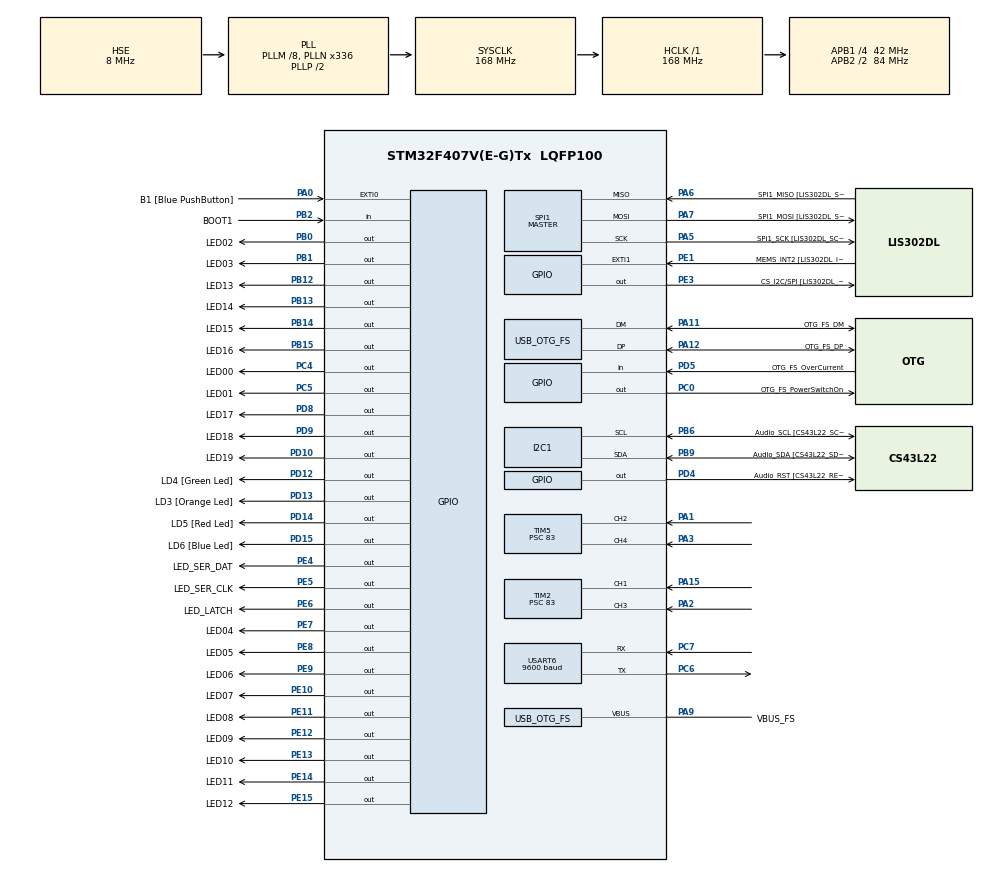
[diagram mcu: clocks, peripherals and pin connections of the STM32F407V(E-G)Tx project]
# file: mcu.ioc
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Mcu.Family=STM32F4
Mcu.Name=STM32F407V(E-G)Tx
Mcu.Package=LQFP100
NVIC.OTG_FS_IRQn=true\:0\:0\:false\:false\:true\:true
NVIC.PriorityGroup=NVIC_PRIORITYGROUP_0
NVIC.TIM2_IRQn=true\:0\:0\:false\:false\:true\:true
NVIC.TIM3_IRQn=true\:0\:0\:false\:false\:true\:true
NVIC.TIM4_IRQn=true\:0\:0\:false\:false\:true\:true
NVIC.TIM5_IRQn=true\:0\:0\:false\:false\:true\:true
NVIC.USART6_IRQn=true\:0\:0\:false\:false\:true\:true
PA0-WKUP.GPIO_Label=B1 [Blue PushButton]
PA0-WKUP.GPIO_ModeDefaultEXTI=GPIO_MODE_EVT_RISING
PA0-WKUP.GPIO_PuPd=GPIO_NOPULL
PA0-WKUP.Signal=GPXTI0
PA1.Signal=S_TIM5_CH2
PA10.GPIO_Label=OTG_FS_ID
PA10.GPIO_Mode=GPIO_MODE_AF_PP
PA10.GPIO_PuPd=GPIO_NOPULL
PA10.GPIO_Speed=GPIO_SPEED_FREQ_LOW
PA10.Signal=USB_OTG_FS_ID
PA11.GPIO_Label=OTG_FS_DM
PA11.GPIO_Mode=GPIO_MODE_AF_PP
PA11.GPIO_PuPd=GPIO_NOPULL
PA11.GPIO_Speed=GPIO_SPEED_FREQ_LOW
PA11.Mode=Host_Only
PA11.Signal=USB_OTG_FS_DM
PA12.GPIO_Label=OTG_FS_DP
PA12.GPIO_Mode=GPIO_MODE_AF_PP
PA12.GPIO_PuPd=GPIO_NOPULL
PA12.GPIO_Speed=GPIO_SPEED_FREQ_LOW
PA12.Mode=Host_Only
PA12.Signal=USB_OTG_FS_DP
PA13.GPIO_Label=SWDIO
PA13.Mode=Serial_Wire
PA13.Signal=SYS_JTMS-SWDIO
PA14.GPIO_Label=SWCLK
PA14.Mode=Serial_Wire
PA14.Signal=SYS_JTCK-SWCLK
PA15.Signal=S_TIM2_CH1_ETR
PA2.Signal=S_TIM2_CH3
PA3.Signal=S_TIM5_CH4
PA4.GPIO_Label=I2S3_WS [CS43L22_LRCK]
PA4.GPIO_Mode=GPIO_MODE_AF_PP
PA4.GPIO_PuPd=GPIO_NOPULL
PA4.GPIO_Speed=GPIO_SPEED_FREQ_LOW
PA4.Signal=I2S3_WS
PA5.GPIO_Label=SPI1_SCK [LIS302DL_SCL/SPC]
PA5.GPIO_Mode=GPIO_MODE_AF_PP
PA5.GPIO_PuPd=GPIO_NOPULL
PA5.GPIO_Speed=GPIO_SPEED_FREQ_LOW
PA5.Mode=Full_Duplex_Master
PA5.Signal=SPI1_SCK
PA6.GPIO_Label=SPI1_MISO [LIS302DL_SDO]
PA6.GPIO_Mode=GPIO_MODE_AF_PP
PA6.GPIO_PuPd=GPIO_NOPULL
PA6.GPIO_Speed=GPIO_SPEED_FREQ_LOW
PA6.Mode=Full_Duplex_Master
PA6.Signal=SPI1_MISO
PA7.GPIO_Label=SPI1_MOSI [LIS302DL_SDA/SDI/SDO]
PA7.GPIO_Mode=GPIO_MODE_AF_PP
PA7.GPIO_PuPd=GPIO_NOPULL
PA7.GPIO_Speed=GPIO_SPEED_FREQ_LOW
PA7.Mode=Full_Duplex_Master
PA7.Signal=SPI1_MOSI
PA9.GPIO_Label=VBUS_FS
PA9.GPIO_Mode=GPIO_MODE_INPUT
PA9.GPIO_PuPd=GPIO_NOPULL
PA9.Mode=Activate_VBUS
PA9.Signal=USB_OTG_FS_VBUS
PB0.GPIO_Label=LED02
PB0.Signal=GPIO_Output
PB1.GPIO_Label=LED03
PB1.Signal=GPIO_Output
PB10.GPIO_Label=CLK_IN [MP45DT02_CLK]
PB10.GPIO_Mode=GPIO_MODE_AF_PP
PB10.GPIO_PuPd=GPIO_NOPULL
PB10.GPIO_Speed=GPIO_SPEED_FREQ_LOW
PB10.Signal=I2S2_CK
PB12.GPIO_Label=LED13
PB12.Signal=GPIO_Output
PB13.GPIO_Label=LED14
PB13.Signal=GPIO_Output
PB14.GPIO_Label=LED15
PB14.Signal=GPIO_Output
PB15.GPIO_Label=LED16
PB15.Signal=GPIO_Output
PB2.GPIO_Label=BOOT1
PB2.GPIO_Mode=GPIO_MODE_INPUT
PB2.GPIO_PuPd=GPIO_NOPULL
PB2.Signal=GPIO_Input
PB3.GPIO_Label=SWO
PB3.Signal=SYS_JTDO-SWO
PB6.GPIO_Label=Audio_SCL [CS43L22_SCL]
PB6.GPIO_Mode=GPIO_MODE_AF_OD
PB6.GPIO_PuPd=GPIO_NOPULL
PB6.GPIO_Speed=GPIO_SPEED_FREQ_LOW
PB6.Mode=I2C
PB6.Signal=I2C1_SCL
PB9.GPIO_Label=Audio_SDA [CS43L22_SDA]
PB9.GPIO_Mode=GPIO_MODE_AF_OD
PB9.GPIO_PuPd=GPIO_NOPULL
PB9.GPIO_Speed=GPIO_SPEED_FREQ_LOW
PB9.Mode=I2C
PB9.Signal=I2C1_SDA
PC0.GPIO_Label=OTG_FS_PowerSwitchOn
PC0.GPIO_PuPd=GPIO_NOPULL
PC0.GPIO_Speed=GPIO_SPEED_FREQ_LOW
PC0.PinState=GPIO_PIN_SET
PC0.Signal=GPIO_Output
PC10.GPIO_Label=I2S3_SCK [CS43L22_SCLK]
PC10.GPIO_Mode=GPIO_MODE_AF_PP
PC10.GPIO_PuPd=GPIO_NOPULL
PC10.GPIO_Speed=GPIO_SPEED_FREQ_LOW
PC10.Signal=I2S3_CK
PC12.GPIO_Label=I2S3_SD [CS43L22_SDIN]
PC12.GPIO_Mode=GPIO_MODE_AF_PP
PC12.GPIO_PuPd=GPIO_NOPULL
PC12.GPIO_Speed=GPIO_SPEED_FREQ_LOW
PC12.Signal=I2S3_SD
PC14-OSC32_IN.GPIO_Label=PC14-OSC32_IN
PC14-OSC32_IN.Mode=LSE-External-Oscillator
PC14-OSC32_IN.Signal=RCC_OSC32_IN
PC15-OSC32_OUT.GPIO_Label=PC15-OSC32_OUT
PC15-OSC32_OUT.Mode=LSE-External-Oscillator
PC15-OSC32_OUT.Signal=RCC_OSC32_OUT
PC3.GPIO_Label=PDM_OUT [MP45DT02_DOUT]
PC3.GPIO_Mode=GPIO_MODE_AF_PP
PC3.GPIO_PuPd=GPIO_NOPULL
PC3.GPIO_Speed=GPIO_SPEED_FREQ_LOW
PC3.Signal=I2S2_SD
PC4.GPIO_Label=LED00
PC4.Signal=GPIO_Output
PC5.GPIO_Label=LED01
PC5.Signal=GPIO_Output
PC6.Mode=Asynchronous
PC6.Signal=USART6_TX
PC7.Mode=Asynchronous
PC7.Signal=USART6_RX
PD10.GPIO_Label=LED19
PD10.Signal=GPIO_Output
PD12.GPIO_Label=LD4 [Green Led]
PD12.GPIO_PuPd=GPIO_NOPULL
PD12.GPIO_Speed=GPIO_SPEED_FREQ_LOW
PD12.Signal=GPIO_Output
PD13.GPIO_Label=LD3 [Orange Led]
PD13.GPIO_PuPd=GPIO_NOPULL
PD13.GPIO_Speed=GPIO_SPEED_FREQ_LOW
PD13.Signal=GPIO_Output
PD14.GPIO_Label=LD5 [Red Led]
PD14.GPIO_PuPd=GPIO_NOPULL
PD14.GPIO_Speed=GPIO_SPEED_FREQ_LOW
PD14.Signal=GPIO_Output
PD15.GPIO_Label=LD6 [Blue Led]
PD15.GPIO_PuPd=GPIO_NOPULL
PD15.GPIO_Speed=GPIO_SPEED_FREQ_LOW
PD15.Signal=GPIO_Output
PD4.GPIO_Label=Audio_RST [CS43L22_RESET]
PD4.GPIO_PuPd=GPIO_NOPULL
PD4.GPIO_Speed=GPIO_SPEED_FREQ_LOW
PD4.Signal=GPIO_Output
PD5.GPIO_Label=OTG_FS_OverCurrent
PD5.GPIO_Mode=GPIO_MODE_INPUT
PD5.GPIO_PuPd=GPIO_NOPULL
PD5.Signal=GPIO_Input
PD8.GPIO_Label=LED17
PD8.Signal=GPIO_Output
PD9.GPIO_Label=LED18
PD9.Signal=GPIO_Output
PE1.GPIO_Label=MEMS_INT2 [LIS302DL_INT2]
PE1.GPIO_ModeDefaultEXTI=GPIO_MODE_EVT_RISING
PE1.GPIO_PuPd=GPIO_NOPULL
PE1.Signal=GPXTI1
PE10.GPIO_Label=LED07
PE10.Signal=GPIO_Output
PE11.GPIO_Label=LED08
PE11.Signal=GPIO_Output
PE12.GPIO_Label=LED09
PE12.Signal=GPIO_Output
PE13.GPIO_Label=LED10
PE13.Signal=GPIO_Output
PE14.GPIO_Label=LED11
PE14.Signal=GPIO_Output
PE15.GPIO_Label=LED12
PE15.Signal=GPIO_Output
PE3.GPIO_Label=CS_I2C/SPI [LIS302DL_CS_I2C/SPI]
PE3.GPIO_PuPd=GPIO_NOPULL
PE3.GPIO_Speed=GPIO_SPEED_FREQ_LOW
PE3.Signal=GPIO_Output
PE4.GPIO_Label=LED_SER_DAT
PE4.Signal=GPIO_Output
PE5.GPIO_Label=LED_SER_CLK
PE5.Signal=GPIO_Output
PE6.GPIO_Label=LED_LATCH
PE6.Signal=GPIO_Output
PE7.GPIO_Label=LED04
PE7.Signal=GPIO_Output
PE8.GPIO_Label=LED05
PE8.Signal=GPIO_Output
PE9.GPIO_Label=LED06
PE9.Signal=GPIO_Output
PH0-OSC_IN.GPIO_Label=PH0-OSC_IN
PH0-OSC_IN.Mode=HSE-External-Oscillator
PH0-OSC_IN.Signal=RCC_OSC_IN
PH1-OSC_OUT.GPIO_Label=PH1-OSC_OUT
PH1-OSC_OUT.Mode=HSE-External-Oscillator
PH1-OSC_OUT.Signal=RCC_OSC_OUT
ProjectManager.HeapSize=0x200
ProjectManager.StackSize=0x400
ProjectManager.TargetToolchain=SW4STM32
RCC.48MHZClocksFreq_Value=48000000
RCC.AHBFreq_Value=168000000
RCC.APB1CLKDivider=RCC_HCLK_DIV4
RCC.APB1Freq_Value=42000000
RCC.APB1TimFreq_Value=84000000
RCC.APB2CLKDivider=RCC_HCLK_DIV2
RCC.APB2Freq_Value=84000000
RCC.APB2TimFreq_Value=168000000
RCC.CortexFreq_Value=168000000
RCC.HCLKFreq_Value=168000000
RCC.HSE_VALUE=8000000
RCC.HSI_VALUE=16000000
RCC.PLLM=8
RCC.PLLN=336
RCC.PLLQ=7
RCC.SYSCLKFreq_VALUE=168000000
RCC.SYSCLKSource=RCC_SYSCLKSOURCE_PLLCLK
RCC.VCOOutputFreq_Value=336000000
SH.S_TIM2_CH1_ETR.0=TIM2_CH1,Input_Capture1_from_TI1
SH.S_TIM2_CH3.0=TIM2_CH3,Input_Capture3_from_TI3
SH.S_TIM5_CH2.0=TIM5_CH2,Input_Capture2_from_TI2
SH.S_TIM5_CH4.0=TIM5_CH4,Input_Capture4_from_TI4
SPI1.BaudRatePrescaler-Full_Duplex_Master=SPI_BAUDRATEPRESCALER_2
SPI1.CalculateBaudRate-Full_Duplex_Master=42.0 MBits/s
SPI1.Direction=SPI_DIRECTION_2LINES
SPI1.Mode=SPI_MODE_MASTER
SPI1.Mode-Full_Duplex_Master=SPI_MODE_MASTER
SPI1.VirtualType=VM_MASTER
TIM2.Channel-Input_Capture1_from_TI1=TIM_CHANNEL_1
TIM2.Channel-Input_Capture3_from_TI3=TIM_CHANNEL_3
TIM2.ICFilter_CH1=15
TIM2.ICFilter_CH3=15
TIM2.Period=3599999999
TIM2.Prescaler=83
TIM2.TIM_MasterOutputTrigger=TIM_TRGO_OC1
TIM2.TIM_MasterSlaveMode=TIM_MASTERSLAVEMODE_ENABLE
TIM3.Channel-PWM\ Generation1\ No\ Output=TIM_CHANNEL_1
TIM3.TIM_MasterSlaveMode=TIM_MASTERSLAVEMODE_ENABLE
TIM4.Channel-PWM\ Generation1\ No\ Output=TIM_CHANNEL_1
TIM5.Channel-Input_Capture2_from_TI2=TIM_CHANNEL_2
TIM5.Channel-Input_Capture4_from_TI4=TIM_CHANNEL_4
TIM5.Channel-PWM\ Generation1\ No\ Output=TIM_CHANNEL_1
TIM5.Period=999999
TIM5.Prescaler=83
TIM5.TIM_MasterSlaveMode=TIM_MASTERSLAVEMODE_ENABLE
USART6.BaudRate=9600
USART6.VirtualMode=VM_ASYNC
USB_HOST.BSP.number=1
USB_HOST.USBH_HandleTypeDef-CDC_FS=hUsbHostFS
USB_HOST.VirtualModeFS=Cdc
USB_HOST0.BSP.STBoard=false
USB_HOST0.BSP.api=Unknown
USB_HOST0.BSP.i2caddr=0
USB_HOST0.BSP.i2creg=0
USB_HOST0.BSP.instance=PC0
USB_HOST0.BSP.ip=GPIO
USB_HOST0.BSP.mode=Output
USB_HOST0.BSP.name=Drive_VBUS_FS
USB_HOST0.BSP.solution=PC0
USB_OTG_FS.VirtualMode=Host_Only
USB_OTG_FS.phy_itface=HCD_PHY_EMBEDDED
VP_TIM2_VS_ClockSourceINT.Mode=Internal
VP_TIM3_VS_ClockSourceINT.Mode=Internal
VP_TIM3_VS_ClockSourceITR.Mode=TriggerSource_ITR2
VP_TIM3_VS_ControllerModeReset.Mode=Reset Mode
VP_TIM3_VS_no_output1.Mode=PWM Generation1 No Output
VP_TIM4_VS_ClockSourceINT.Mode=Internal
VP_TIM4_VS_ClockSourceITR.Mode=TriggerSource_ITR0
VP_TIM4_VS_ControllerModeReset.Mode=Reset Mode
VP_TIM4_VS_no_output1.Mode=PWM Generation1 No Output
VP_TIM5_VS_ClockSourceINT.Mode=Internal
VP_TIM5_VS_ClockSourceITR.Mode=TriggerSource_ITR0
VP_TIM5_VS_ControllerModeReset.Mode=Reset Mode
VP_TIM5_VS_no_output1.Mode=PWM Generation1 No Output
VP_USB_HOST_VS_USB_HOST_CDC_FS.Mode=CDC_FS
board=STM32F4DISCOVERY

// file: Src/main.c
/**
  ******************************************************************************
  * @file           : main.c
  * @brief          : Main program body
  ******************************************************************************
  * This notice applies to any and all portions of this file
  * that are not between comment pairs USER CODE BEGIN and
  * USER CODE END. Other portions of this file, whether
  * inserted by the user or by software development tools
  * are owned by their respective copyright owners.
  *
  * Copyright (c) 2018 STMicroelectronics International N.V.
  * All rights reserved.
  *
  * Redistribution and use in source and binary forms, with or without
  * modification, are permitted, provided that the following conditions are met:
  *
  * 1. Redistribution of source code must retain the above copyright notice,
  *    this list of conditions and the following disclaimer.
  * 2. Redistributions in binary form must reproduce the above copyright notice,
  *    this list of conditions and the following disclaimer in the documentation
  *    and/or other materials provided with the distribution.
  * 3. Neither the name of STMicroelectronics nor the names of other
  *    contributors to this software may be used to endorse or promote products
  *    derived from this software without specific written permission.
  * 4. This software, including modifications and/or derivative works of this
  *    software, must execute solely and exclusively on microcontroller or
  *    microprocessor devices manufactured by or for STMicroelectronics.
  * 5. Redistribution and use of this software other than as permitted under
  *    this license is void and will automatically terminate your rights under
  *    this license.
  *
  * THIS SOFTWARE IS PROVIDED BY STMICROELECTRONICS AND CONTRIBUTORS "AS IS"
  * AND ANY EXPRESS, IMPLIED OR STATUTORY WARRANTIES, INCLUDING, BUT NOT
  * LIMITED TO, THE IMPLIED WARRANTIES OF MERCHANTABILITY, FITNESS FOR A
  * PARTICULAR PURPOSE AND NON-INFRINGEMENT OF THIRD PARTY INTELLECTUAL PROPERTY
  * RIGHTS ARE DISCLAIMED TO THE FULLEST EXTENT PERMITTED BY LAW. IN NO EVENT
  * SHALL STMICROELECTRONICS OR CONTRIBUTORS BE LIABLE FOR ANY DIRECT, INDIRECT,
  * INCIDENTAL, SPECIAL, EXEMPLARY, OR CONSEQUENTIAL DAMAGES (INCLUDING, BUT NOT
  * LIMITED TO, PROCUREMENT OF SUBSTITUTE GOODS OR SERVICES; LOSS OF USE, DATA,
  * OR PROFITS; OR BUSINESS INTERRUPTION) HOWEVER CAUSED AND ON ANY THEORY OF
  * LIABILITY, WHETHER IN CONTRACT, STRICT LIABILITY, OR TORT (INCLUDING
  * NEGLIGENCE OR OTHERWISE) ARISING IN ANY WAY OUT OF THE USE OF THIS SOFTWARE,
  * EVEN IF ADVISED OF THE POSSIBILITY OF SUCH DAMAGE.
  *
  ******************************************************************************
  */
#include "main.h"
#include "stm32f4xx_hal.h"
#include "usb_host.h"

I2C_HandleTypeDef hi2c1;

SPI_HandleTypeDef hspi1;

TIM_HandleTypeDef htim2;
TIM_HandleTypeDef htim3;
TIM_HandleTypeDef htim4;
TIM_HandleTypeDef htim5;

UART_HandleTypeDef huart6;

/* USER CODE BEGIN PV */
/* Private variables ---------------------------------------------------------*/

/* USER CODE END PV */

void SystemClock_Config(void);
static void MX_GPIO_Init(void);
static void MX_I2C1_Init(void);
static void MX_SPI1_Init(void);
static void MX_TIM2_Init(void);
static void MX_TIM5_Init(void);
static void MX_USART6_UART_Init(void);
static void MX_TIM4_Init(void);
static void MX_TIM3_Init(void);
void MX_USB_HOST_Process(void);

/* USER CODE BEGIN PFP */
/* Private function prototypes -----------------------------------------------*/

/* USER CODE END PFP */

/* USER CODE BEGIN 0 */

/* private variables */
#define ppsAccumulatorShift 3
#define ppsAccumulatorSize 8
#define ppsAccumulatorMask 7
uint32_t ppsTimeBase = 0;
uint32_t ppsAccumulator[ppsAccumulatorSize];
uint32_t ppsAccumulatorSamples = 0;

void averageTimeBase(uint32_t accumulator) {
	uint32_t head = ppsAccumulatorSamples & ppsAccumulatorMask;
	ppsAccumulator[head] = accumulator;
	++ppsAccumulatorSamples;
	if (ppsAccumulatorSamples >= ppsAccumulatorSize) {
		accumulator = 0;
		for (int i = 0; i < ppsAccumulatorSize; ++i) {
			accumulator += ppsAccumulator[i];
		}
		accumulator = (accumulator >> ppsAccumulatorShift);
	} else {
		accumulator = 0;
	}
	ppsTimeBase = accumulator;
}

#define GprmcBufferSize 128
uint8_t gprmcBuff[GprmcBufferSize];
uint8_t gprmcTemp[GprmcBufferSize];
unsigned int gprmcBuffPos = 0;
unsigned int gprmcBuffSize = GprmcBufferSize;

uint32_t utcSeconds;

void udelay(uint32_t delay) {
	volatile uint32_t acc = 0;
	for (unsigned int i = 0; i < 1000; ++i) {
		acc = acc + i;
	}
}

#define segA (1<<0)
#define segB (1<<6)
#define segC (1<<5)
#define segD (1<<4)
#define segE (1<<3)
#define segF (1<<1)
#define segG (1<<2)
#define segP (1<<7)

uint8_t segLUT[16] = {
	segA | segB | segC | segD | segE | segF,
	segB | segC,
	segA | segB | segD | segE | segG,
	segA | segB | segC | segD | segG,
	segF | segG | segB | segC,
	segA | segF | segG | segC | segD,
	segA | segC | segD | segE | segF | segG,
	segA | segB | segC,
	segA | segB | segC | segD | segE | segF | segG,
	segA | segB | segC | segD | segF | segG,
	segA | segB | segC | segE | segF | segG,
	segC | segD | segE | segF | segG,
	segA | segD | segE | segF,
	segB | segC | segD | segE | segG,
	segA | segD | segE | segF | segG,
	segA | segE | segF | segG,
};

uint8_t bitMasks[8] = { 0x80, 0x40, 0x20, 0x10, 0x08, 0x04, 0x02, 0x01 };

void displayTime(uint32_t seconds) {
	uint8_t *p = (uint8_t *) &seconds;
//	p += 4;
	const uint32_t delay = 100;
	for (unsigned int i = 0; i < 4; ++i) {
		uint8_t segments;
//		uint8_t ch = *--p;
		uint8_t ch = *p++;
		segments = segLUT[ch & 0xf];
		for (unsigned int j = 0; j < 8; ++j) {
			uint8_t flag = (segments & bitMasks[j]) ? 0 : 1;
			GPIOE->BSRR = (1 << (4 + flag * 16));
			udelay(delay);
			GPIOE->BSRR = (1 << (5 + 0 * 16));
			udelay(delay);
			GPIOE->BSRR = (1 << (5 + 1 * 16));
		}
		segments = segLUT[(ch >> 4) & 0xf];
		for (unsigned int j = 0; j < 8; ++j) {
			uint8_t flag = (segments & bitMasks[j]) ? 0 : 1;
			GPIOE->BSRR = (1 << (4 + flag * 16));
			udelay(delay);
			GPIOE->BSRR = (1 << (5 + 0 * 16));
			udelay(delay);
			GPIOE->BSRR = (1 << (5 + 1 * 16));
		}
	}
	GPIOE->BSRR = (1 << (6 + 0 * 16));
	udelay(delay);
	GPIOE->BSRR = (1 << (6 + 1 * 16));
	udelay(delay);
}

/* USER CODE END 0 */

int main(void)
{

  /* MCU Configuration----------------------------------------------------------*/

  /* Reset of all peripherals, Initializes the Flash interface and the Systick. */
  HAL_Init();

  /* Configure the system clock */
  SystemClock_Config();

  /* Initialize all configured peripherals */
  MX_GPIO_Init();
  MX_I2C1_Init();
  MX_SPI1_Init();
  MX_USB_HOST_Init();
  MX_TIM2_Init();
  MX_TIM5_Init();
  MX_USART6_UART_Init();
  MX_TIM4_Init();
  MX_TIM3_Init();
  /* USER CODE BEGIN 2 */

	TIM_TypeDef *tim;
	uint8_t ts, sms, mms, msm;

	tim = TIM2;
	tim->CCER |= TIM_CCER_CC1E;

	tim->SMCR &= ~(TIM_SMCR_TS_Msk | TIM_SMCR_SMS_Msk | TIM_SMCR_MSM_Msk);
	ts = 0; /* n/a disabled */
	sms = 0; /* no slave mode */
	tim->SMCR |= ((ts << TIM_SMCR_TS_Pos) | (sms << TIM_SMCR_SMS_Pos) | (msm << TIM_SMCR_MSM_Pos));

	mms = 3; /* CC1IF is trigger out */
	tim->CR2 &= ~(TIM_CR2_MMS_Msk);
	tim->CR2 |= (mms << TIM_CR2_MMS_Pos);

	tim->DIER = TIM_DIER_CC1IE;
	tim->CR1 |= TIM_CR1_CEN; /* enable timer */

	/* TIM3 is connected to the individual LED */
	tim = TIM3;

	tim->SMCR &= ~(TIM_SMCR_TS_Msk | TIM_SMCR_SMS_Msk | TIM_SMCR_MSM_Msk);
	ts = 2; /* tim5 TRGO is trigger */
	sms = 4; /* reset mode on rising edge of TRGI */
	msm = 1;
	tim->SMCR |= ((ts << TIM_SMCR_TS_Pos) | (sms << TIM_SMCR_SMS_Pos) | (msm << TIM_SMCR_MSM_Pos));

	tim->PSC = 84 - 1;
	tim->ARR = 50000 - 1;
	tim->DIER = (TIM_DIER_UIE | TIM_DIER_CC1IE);
	tim->CR1 |= TIM_CR1_CEN; /* enable timer */

	/* shadow of TIM4. could go away */
	tim = TIM4;

	tim->SMCR &= ~(TIM_SMCR_TS_Msk | TIM_SMCR_SMS_Msk | TIM_SMCR_MSM_Msk);
	ts = 1; /* tim2 TRGO is trigger */
	sms = 4; /* reset mode on rising edge of TRGI */
	msm = 1;
	tim->SMCR |= ((ts << TIM_SMCR_TS_Pos) | (sms << TIM_SMCR_SMS_Pos) | (msm << TIM_SMCR_MSM_Pos));

	tim->PSC = 84 - 1;
	tim->ARR = 50000 - 1;
	tim->DIER = (TIM_DIER_UIE | TIM_DIER_CC1IE);
	tim->CR1 |= TIM_CR1_CEN; /* enable timer */

	/* master */
	tim = TIM5;

	mms = 0; /* reset is trigger out */
	tim->CR2 &= ~(TIM_CR2_MMS_Msk);
	tim->CR2 |= (mms << TIM_CR2_MMS_Pos);

	tim->SMCR &= ~(TIM_SMCR_TS_Msk | TIM_SMCR_SMS_Msk | TIM_SMCR_MSM_Msk);
	ts = 0; /* tim2 TRGO is trigger */
	sms = 4; /* reset mode on rising edge of TRGI */
	msm = 1;
	tim->SMCR |= ((ts << TIM_SMCR_TS_Pos) | (sms << TIM_SMCR_SMS_Pos) | (msm << TIM_SMCR_MSM_Pos));

	tim->PSC = 84 - 1;
	tim->ARR = 50000 - 1;
	tim->DIER = (TIM_DIER_UIE | TIM_DIER_CC1IE);
	tim->CR1 |= TIM_CR1_CEN; /* enable timer */

	USART6->CR1 |= (USART_CR1_RE | USART_CR1_RXNEIE);

  /* USER CODE END 2 */

  /* Infinite loop */
  /* USER CODE BEGIN WHILE */

  while (1)
  {
	  if (utcSeconds != 0) {
		  displayTime(utcSeconds);
		  utcSeconds = 0;
	  }

//	  int delay = 50;
//	  GPIOD->BSRR = (1 << (0x0C + 0 * 16));
//	  GPIOD->BSRR = (1 << (0x0D + 1 * 16));
//	  HAL_Delay(delay);
//	  GPIOD->BSRR = (1 << (0x0C + 1 * 16));
//	  GPIOD->BSRR = (1 << (0x0D + 0 * 16));
//	  HAL_Delay(delay);
//
//	  HAL_Delay(18 * delay);

  /* USER CODE END WHILE */
    MX_USB_HOST_Process();

  }

}

void SystemClock_Config(void)
{

  RCC_OscInitTypeDef RCC_OscInitStruct;
  RCC_ClkInitTypeDef RCC_ClkInitStruct;

    /**Configure the main internal regulator output voltage
    */
  __HAL_RCC_PWR_CLK_ENABLE();

  __HAL_PWR_VOLTAGESCALING_CONFIG(PWR_REGULATOR_VOLTAGE_SCALE1);

    /**Initializes the CPU, AHB and APB busses clocks
    */
  RCC_OscInitStruct.OscillatorType = RCC_OSCILLATORTYPE_LSI|RCC_OSCILLATORTYPE_HSE;
  RCC_OscInitStruct.HSEState = RCC_HSE_ON;
  RCC_OscInitStruct.LSIState = RCC_LSI_ON;
  RCC_OscInitStruct.PLL.PLLState = RCC_PLL_ON;
  RCC_OscInitStruct.PLL.PLLSource = RCC_PLLSOURCE_HSE;
  RCC_OscInitStruct.PLL.PLLM = 8;
  RCC_OscInitStruct.PLL.PLLN = 336;
  RCC_OscInitStruct.PLL.PLLP = RCC_PLLP_DIV2;
  RCC_OscInitStruct.PLL.PLLQ = 7;
  if (HAL_RCC_OscConfig(&RCC_OscInitStruct) != HAL_OK)
  {
    _Error_Handler(__FILE__, __LINE__);
  }

    /**Initializes the CPU, AHB and APB busses clocks
    */
  RCC_ClkInitStruct.ClockType = RCC_CLOCKTYPE_HCLK|RCC_CLOCKTYPE_SYSCLK
                              |RCC_CLOCKTYPE_PCLK1|RCC_CLOCKTYPE_PCLK2;
  RCC_ClkInitStruct.SYSCLKSource = RCC_SYSCLKSOURCE_PLLCLK;
  RCC_ClkInitStruct.AHBCLKDivider = RCC_SYSCLK_DIV1;
  RCC_ClkInitStruct.APB1CLKDivider = RCC_HCLK_DIV4;
  RCC_ClkInitStruct.APB2CLKDivider = RCC_HCLK_DIV2;

  if (HAL_RCC_ClockConfig(&RCC_ClkInitStruct, FLASH_LATENCY_5) != HAL_OK)
  {
    _Error_Handler(__FILE__, __LINE__);
  }

    /**Configure the Systick interrupt time
    */
  HAL_SYSTICK_Config(HAL_RCC_GetHCLKFreq()/1000);

    /**Configure the Systick
    */
  HAL_SYSTICK_CLKSourceConfig(SYSTICK_CLKSOURCE_HCLK);

  /* SysTick_IRQn interrupt configuration */
  HAL_NVIC_SetPriority(SysTick_IRQn, 0, 0);
}

/* I2C1 init function */
static void MX_I2C1_Init(void)
{

  hi2c1.Instance = I2C1;
  hi2c1.Init.ClockSpeed = 100000;
  hi2c1.Init.DutyCycle = I2C_DUTYCYCLE_2;
  hi2c1.Init.OwnAddress1 = 0;
  hi2c1.Init.AddressingMode = I2C_ADDRESSINGMODE_7BIT;
  hi2c1.Init.DualAddressMode = I2C_DUALADDRESS_DISABLE;
  hi2c1.Init.OwnAddress2 = 0;
  hi2c1.Init.GeneralCallMode = I2C_GENERALCALL_DISABLE;
  hi2c1.Init.NoStretchMode = I2C_NOSTRETCH_DISABLE;
  if (HAL_I2C_Init(&hi2c1) != HAL_OK)
  {
    _Error_Handler(__FILE__, __LINE__);
  }

}

/* SPI1 init function */
static void MX_SPI1_Init(void)
{

  /* SPI1 parameter configuration*/
  hspi1.Instance = SPI1;
  hspi1.Init.Mode = SPI_MODE_MASTER;
  hspi1.Init.Direction = SPI_DIRECTION_2LINES;
  hspi1.Init.DataSize = SPI_DATASIZE_8BIT;
  hspi1.Init.CLKPolarity = SPI_POLARITY_LOW;
  hspi1.Init.CLKPhase = SPI_PHASE_1EDGE;
  hspi1.Init.NSS = SPI_NSS_SOFT;
  hspi1.Init.BaudRatePrescaler = SPI_BAUDRATEPRESCALER_2;
  hspi1.Init.FirstBit = SPI_FIRSTBIT_MSB;
  hspi1.Init.TIMode = SPI_TIMODE_DISABLE;
  hspi1.Init.CRCCalculation = SPI_CRCCALCULATION_DISABLE;
  hspi1.Init.CRCPolynomial = 10;
  if (HAL_SPI_Init(&hspi1) != HAL_OK)
  {
    _Error_Handler(__FILE__, __LINE__);
  }

}

/* TIM2 init function */
static void MX_TIM2_Init(void)
{

  TIM_ClockConfigTypeDef sClockSourceConfig;
  TIM_MasterConfigTypeDef sMasterConfig;
  TIM_IC_InitTypeDef sConfigIC;

  htim2.Instance = TIM2;
  htim2.Init.Prescaler = 83;
  htim2.Init.CounterMode = TIM_COUNTERMODE_UP;
  htim2.Init.Period = 3599999999;
  htim2.Init.ClockDivision = TIM_CLOCKDIVISION_DIV1;
  if (HAL_TIM_Base_Init(&htim2) != HAL_OK)
  {
    _Error_Handler(__FILE__, __LINE__);
  }

  sClockSourceConfig.ClockSource = TIM_CLOCKSOURCE_INTERNAL;
  if (HAL_TIM_ConfigClockSource(&htim2, &sClockSourceConfig) != HAL_OK)
  {
    _Error_Handler(__FILE__, __LINE__);
  }

  if (HAL_TIM_IC_Init(&htim2) != HAL_OK)
  {
    _Error_Handler(__FILE__, __LINE__);
  }

  sMasterConfig.MasterOutputTrigger = TIM_TRGO_OC1;
  sMasterConfig.MasterSlaveMode = TIM_MASTERSLAVEMODE_ENABLE;
  if (HAL_TIMEx_MasterConfigSynchronization(&htim2, &sMasterConfig) != HAL_OK)
  {
    _Error_Handler(__FILE__, __LINE__);
  }

  sConfigIC.ICPolarity = TIM_INPUTCHANNELPOLARITY_RISING;
  sConfigIC.ICSelection = TIM_ICSELECTION_DIRECTTI;
  sConfigIC.ICPrescaler = TIM_ICPSC_DIV1;
  sConfigIC.ICFilter = 15;
  if (HAL_TIM_IC_ConfigChannel(&htim2, &sConfigIC, TIM_CHANNEL_1) != HAL_OK)
  {
    _Error_Handler(__FILE__, __LINE__);
  }

  if (HAL_TIM_IC_ConfigChannel(&htim2, &sConfigIC, TIM_CHANNEL_3) != HAL_OK)
  {
    _Error_Handler(__FILE__, __LINE__);
  }

}

/* TIM3 init function */
static void MX_TIM3_Init(void)
{

  TIM_ClockConfigTypeDef sClockSourceConfig;
  TIM_SlaveConfigTypeDef sSlaveConfig;
  TIM_MasterConfigTypeDef sMasterConfig;
  TIM_OC_InitTypeDef sConfigOC;

  htim3.Instance = TIM3;
  htim3.Init.Prescaler = 0;
  htim3.Init.CounterMode = TIM_COUNTERMODE_UP;
  htim3.Init.Period = 0;
  htim3.Init.ClockDivision = TIM_CLOCKDIVISION_DIV1;
  if (HAL_TIM_Base_Init(&htim3) != HAL_OK)
  {
    _Error_Handler(__FILE__, __LINE__);
  }

  sClockSourceConfig.ClockSource = TIM_CLOCKSOURCE_INTERNAL;
  if (HAL_TIM_ConfigClockSource(&htim3, &sClockSourceConfig) != HAL_OK)
  {
    _Error_Handler(__FILE__, __LINE__);
  }

  if (HAL_TIM_PWM_Init(&htim3) != HAL_OK)
  {
    _Error_Handler(__FILE__, __LINE__);
  }

  sSlaveConfig.SlaveMode = TIM_SLAVEMODE_RESET;
  sSlaveConfig.InputTrigger = TIM_TS_ITR2;
  if (HAL_TIM_SlaveConfigSynchronization(&htim3, &sSlaveConfig) != HAL_OK)
  {
    _Error_Handler(__FILE__, __LINE__);
  }

  sMasterConfig.MasterOutputTrigger = TIM_TRGO_RESET;
  sMasterConfig.MasterSlaveMode = TIM_MASTERSLAVEMODE_ENABLE;
  if (HAL_TIMEx_MasterConfigSynchronization(&htim3, &sMasterConfig) != HAL_OK)
  {
    _Error_Handler(__FILE__, __LINE__);
  }

  sConfigOC.OCMode = TIM_OCMODE_PWM1;
  sConfigOC.Pulse = 0;
  sConfigOC.OCPolarity = TIM_OCPOLARITY_HIGH;
  sConfigOC.OCFastMode = TIM_OCFAST_DISABLE;
  if (HAL_TIM_PWM_ConfigChannel(&htim3, &sConfigOC, TIM_CHANNEL_1) != HAL_OK)
  {
    _Error_Handler(__FILE__, __LINE__);
  }

}

/* TIM4 init function */
static void MX_TIM4_Init(void)
{

  TIM_ClockConfigTypeDef sClockSourceConfig;
  TIM_SlaveConfigTypeDef sSlaveConfig;
  TIM_MasterConfigTypeDef sMasterConfig;
  TIM_OC_InitTypeDef sConfigOC;

  htim4.Instance = TIM4;
  htim4.Init.Prescaler = 0;
  htim4.Init.CounterMode = TIM_COUNTERMODE_UP;
  htim4.Init.Period = 0;
  htim4.Init.ClockDivision = TIM_CLOCKDIVISION_DIV1;
  if (HAL_TIM_Base_Init(&htim4) != HAL_OK)
  {
    _Error_Handler(__FILE__, __LINE__);
  }

  sClockSourceConfig.ClockSource = TIM_CLOCKSOURCE_INTERNAL;
  if (HAL_TIM_ConfigClockSource(&htim4, &sClockSourceConfig) != HAL_OK)
  {
    _Error_Handler(__FILE__, __LINE__);
  }

  if (HAL_TIM_PWM_Init(&htim4) != HAL_OK)
  {
    _Error_Handler(__FILE__, __LINE__);
  }

  sSlaveConfig.SlaveMode = TIM_SLAVEMODE_RESET;
  sSlaveConfig.InputTrigger = TIM_TS_ITR0;
  if (HAL_TIM_SlaveConfigSynchronization(&htim4, &sSlaveConfig) != HAL_OK)
  {
    _Error_Handler(__FILE__, __LINE__);
  }

  sMasterConfig.MasterOutputTrigger = TIM_TRGO_RESET;
  sMasterConfig.MasterSlaveMode = TIM_MASTERSLAVEMODE_DISABLE;
  if (HAL_TIMEx_MasterConfigSynchronization(&htim4, &sMasterConfig) != HAL_OK)
  {
    _Error_Handler(__FILE__, __LINE__);
  }

  sConfigOC.OCMode = TIM_OCMODE_PWM1;
  sConfigOC.Pulse = 0;
  sConfigOC.OCPolarity = TIM_OCPOLARITY_HIGH;
  sConfigOC.OCFastMode = TIM_OCFAST_DISABLE;
  if (HAL_TIM_PWM_ConfigChannel(&htim4, &sConfigOC, TIM_CHANNEL_1) != HAL_OK)
  {
    _Error_Handler(__FILE__, __LINE__);
  }

}

/* TIM5 init function */
static void MX_TIM5_Init(void)
{

  TIM_ClockConfigTypeDef sClockSourceConfig;
  TIM_SlaveConfigTypeDef sSlaveConfig;
  TIM_MasterConfigTypeDef sMasterConfig;
  TIM_OC_InitTypeDef sConfigOC;
  TIM_IC_InitTypeDef sConfigIC;

  htim5.Instance = TIM5;
  htim5.Init.Prescaler = 83;
  htim5.Init.CounterMode = TIM_COUNTERMODE_UP;
  htim5.Init.Period = 999999;
  htim5.Init.ClockDivision = TIM_CLOCKDIVISION_DIV1;
  if (HAL_TIM_Base_Init(&htim5) != HAL_OK)
  {
    _Error_Handler(__FILE__, __LINE__);
  }

  sClockSourceConfig.ClockSource = TIM_CLOCKSOURCE_INTERNAL;
  if (HAL_TIM_ConfigClockSource(&htim5, &sClockSourceConfig) != HAL_OK)
  {
    _Error_Handler(__FILE__, __LINE__);
  }

  if (HAL_TIM_PWM_Init(&htim5) != HAL_OK)
  {
    _Error_Handler(__FILE__, __LINE__);
  }

  if (HAL_TIM_IC_Init(&htim5) != HAL_OK)
  {
    _Error_Handler(__FILE__, __LINE__);
  }

  sSlaveConfig.SlaveMode = TIM_SLAVEMODE_RESET;
  sSlaveConfig.InputTrigger = TIM_TS_ITR0;
  if (HAL_TIM_SlaveConfigSynchronization(&htim5, &sSlaveConfig) != HAL_OK)
  {
    _Error_Handler(__FILE__, __LINE__);
  }

  sMasterConfig.MasterOutputTrigger = TIM_TRGO_RESET;
  sMasterConfig.MasterSlaveMode = TIM_MASTERSLAVEMODE_ENABLE;
  if (HAL_TIMEx_MasterConfigSynchronization(&htim5, &sMasterConfig) != HAL_OK)
  {
    _Error_Handler(__FILE__, __LINE__);
  }

  sConfigOC.OCMode = TIM_OCMODE_PWM1;
  sConfigOC.Pulse = 0;
  sConfigOC.OCPolarity = TIM_OCPOLARITY_HIGH;
  sConfigOC.OCFastMode = TIM_OCFAST_DISABLE;
  if (HAL_TIM_PWM_ConfigChannel(&htim5, &sConfigOC, TIM_CHANNEL_1) != HAL_OK)
  {
    _Error_Handler(__FILE__, __LINE__);
  }

  sConfigIC.ICPolarity = TIM_INPUTCHANNELPOLARITY_RISING;
  sConfigIC.ICSelection = TIM_ICSELECTION_DIRECTTI;
  sConfigIC.ICPrescaler = TIM_ICPSC_DIV1;
  sConfigIC.ICFilter = 0;
  if (HAL_TIM_IC_ConfigChannel(&htim5, &sConfigIC, TIM_CHANNEL_2) != HAL_OK)
  {
    _Error_Handler(__FILE__, __LINE__);
  }

  if (HAL_TIM_IC_ConfigChannel(&htim5, &sConfigIC, TIM_CHANNEL_4) != HAL_OK)
  {
    _Error_Handler(__FILE__, __LINE__);
  }

}

/* USART6 init function */
static void MX_USART6_UART_Init(void)
{

  huart6.Instance = USART6;
  huart6.Init.BaudRate = 9600;
  huart6.Init.WordLength = UART_WORDLENGTH_8B;
  huart6.Init.StopBits = UART_STOPBITS_1;
  huart6.Init.Parity = UART_PARITY_NONE;
  huart6.Init.Mode = UART_MODE_TX_RX;
  huart6.Init.HwFlowCtl = UART_HWCONTROL_NONE;
  huart6.Init.OverSampling = UART_OVERSAMPLING_16;
  if (HAL_UART_Init(&huart6) != HAL_OK)
  {
    _Error_Handler(__FILE__, __LINE__);
  }

}

/** Configure pins as
        * Analog
        * Input
        * Output
        * EVENT_OUT
        * EXTI
     PC3   ------> I2S2_SD
     PA4   ------> I2S3_WS
     PB10   ------> I2S2_CK
     PC10   ------> I2S3_CK
     PC12   ------> I2S3_SD
*/
static void MX_GPIO_Init(void)
{

  GPIO_InitTypeDef GPIO_InitStruct;

  /* GPIO Ports Clock Enable */
  __HAL_RCC_GPIOE_CLK_ENABLE();
  __HAL_RCC_GPIOC_CLK_ENABLE();
  __HAL_RCC_GPIOH_CLK_ENABLE();
  __HAL_RCC_GPIOA_CLK_ENABLE();
  __HAL_RCC_GPIOB_CLK_ENABLE();
  __HAL_RCC_GPIOD_CLK_ENABLE();

  /*Configure GPIO pin Output Level */
  HAL_GPIO_WritePin(GPIOE, CS_I2C_SPI_Pin|LED_SER_DAT_Pin|LED_SER_CLK_Pin|LED_LATCH_Pin
                          |LED04_Pin|LED05_Pin|LED06_Pin|LED07_Pin
                          |LED08_Pin|LED09_Pin|LED10_Pin|LED11_Pin
                          |LED12_Pin, GPIO_PIN_RESET);

  /*Configure GPIO pin Output Level */
  HAL_GPIO_WritePin(OTG_FS_PowerSwitchOn_GPIO_Port, OTG_FS_PowerSwitchOn_Pin, GPIO_PIN_SET);

  /*Configure GPIO pin Output Level */
  HAL_GPIO_WritePin(GPIOC, LED00_Pin|LED01_Pin, GPIO_PIN_RESET);

  /*Configure GPIO pin Output Level */
  HAL_GPIO_WritePin(GPIOB, LED02_Pin|LED03_Pin|LED13_Pin|LED14_Pin
                          |LED15_Pin|LED16_Pin, GPIO_PIN_RESET);

  /*Configure GPIO pin Output Level */
  HAL_GPIO_WritePin(GPIOD, LED17_Pin|LED18_Pin|LED19_Pin|LD4_Pin
                          |LD3_Pin|LD5_Pin|LD6_Pin|Audio_RST_Pin, GPIO_PIN_RESET);

  /*Configure GPIO pins : CS_I2C_SPI_Pin LED_SER_DAT_Pin LED_SER_CLK_Pin LED_LATCH_Pin
                           LED04_Pin LED05_Pin LED06_Pin LED07_Pin
                           LED08_Pin LED09_Pin LED10_Pin LED11_Pin
                           LED12_Pin */
  GPIO_InitStruct.Pin = CS_I2C_SPI_Pin|LED_SER_DAT_Pin|LED_SER_CLK_Pin|LED_LATCH_Pin
                          |LED04_Pin|LED05_Pin|LED06_Pin|LED07_Pin
                          |LED08_Pin|LED09_Pin|LED10_Pin|LED11_Pin
                          |LED12_Pin;
  GPIO_InitStruct.Mode = GPIO_MODE_OUTPUT_PP;
  GPIO_InitStruct.Pull = GPIO_NOPULL;
  GPIO_InitStruct.Speed = GPIO_SPEED_FREQ_LOW;
  HAL_GPIO_Init(GPIOE, &GPIO_InitStruct);

  /*Configure GPIO pins : OTG_FS_PowerSwitchOn_Pin LED00_Pin LED01_Pin */
  GPIO_InitStruct.Pin = OTG_FS_PowerSwitchOn_Pin|LED00_Pin|LED01_Pin;
  GPIO_InitStruct.Mode = GPIO_MODE_OUTPUT_PP;
  GPIO_InitStruct.Pull = GPIO_NOPULL;
  GPIO_InitStruct.Speed = GPIO_SPEED_FREQ_LOW;
  HAL_GPIO_Init(GPIOC, &GPIO_InitStruct);

  /*Configure GPIO pin : PDM_OUT_Pin */
  GPIO_InitStruct.Pin = PDM_OUT_Pin;
  GPIO_InitStruct.Mode = GPIO_MODE_AF_PP;
  GPIO_InitStruct.Pull = GPIO_NOPULL;
  GPIO_InitStruct.Speed = GPIO_SPEED_FREQ_LOW;
  GPIO_InitStruct.Alternate = GPIO_AF5_SPI2;
  HAL_GPIO_Init(PDM_OUT_GPIO_Port, &GPIO_InitStruct);

  /*Configure GPIO pin : B1_Pin */
  GPIO_InitStruct.Pin = B1_Pin;
  GPIO_InitStruct.Mode = GPIO_MODE_EVT_RISING;
  GPIO_InitStruct.Pull = GPIO_NOPULL;
  HAL_GPIO_Init(B1_GPIO_Port, &GPIO_InitStruct);

  /*Configure GPIO pin : I2S3_WS_Pin */
  GPIO_InitStruct.Pin = I2S3_WS_Pin;
  GPIO_InitStruct.Mode = GPIO_MODE_AF_PP;
  GPIO_InitStruct.Pull = GPIO_NOPULL;
  GPIO_InitStruct.Speed = GPIO_SPEED_FREQ_LOW;
  GPIO_InitStruct.Alternate = GPIO_AF6_SPI3;
  HAL_GPIO_Init(I2S3_WS_GPIO_Port, &GPIO_InitStruct);

  /*Configure GPIO pins : LED02_Pin LED03_Pin LED13_Pin LED14_Pin
                           LED15_Pin LED16_Pin */
  GPIO_InitStruct.Pin = LED02_Pin|LED03_Pin|LED13_Pin|LED14_Pin
                          |LED15_Pin|LED16_Pin;
  GPIO_InitStruct.Mode = GPIO_MODE_OUTPUT_PP;
  GPIO_InitStruct.Pull = GPIO_NOPULL;
  GPIO_InitStruct.Speed = GPIO_SPEED_FREQ_LOW;
  HAL_GPIO_Init(GPIOB, &GPIO_InitStruct);

  /*Configure GPIO pin : BOOT1_Pin */
  GPIO_InitStruct.Pin = BOOT1_Pin;
  GPIO_InitStruct.Mode = GPIO_MODE_INPUT;
  GPIO_InitStruct.Pull = GPIO_NOPULL;
  HAL_GPIO_Init(BOOT1_GPIO_Port, &GPIO_InitStruct);

  /*Configure GPIO pin : CLK_IN_Pin */
  GPIO_InitStruct.Pin = CLK_IN_Pin;
  GPIO_InitStruct.Mode = GPIO_MODE_AF_PP;
  GPIO_InitStruct.Pull = GPIO_NOPULL;
  GPIO_InitStruct.Speed = GPIO_SPEED_FREQ_LOW;
  GPIO_InitStruct.Alternate = GPIO_AF5_SPI2;
  HAL_GPIO_Init(CLK_IN_GPIO_Port, &GPIO_InitStruct);

  /*Configure GPIO pins : LED17_Pin LED18_Pin LED19_Pin LD4_Pin
                           LD3_Pin LD5_Pin LD6_Pin Audio_RST_Pin */
  GPIO_InitStruct.Pin = LED17_Pin|LED18_Pin|LED19_Pin|LD4_Pin
                          |LD3_Pin|LD5_Pin|LD6_Pin|Audio_RST_Pin;
  GPIO_InitStruct.Mode = GPIO_MODE_OUTPUT_PP;
  GPIO_InitStruct.Pull = GPIO_NOPULL;
  GPIO_InitStruct.Speed = GPIO_SPEED_FREQ_LOW;
  HAL_GPIO_Init(GPIOD, &GPIO_InitStruct);

  /*Configure GPIO pins : I2S3_SCK_Pin I2S3_SD_Pin */
  GPIO_InitStruct.Pin = I2S3_SCK_Pin|I2S3_SD_Pin;
  GPIO_InitStruct.Mode = GPIO_MODE_AF_PP;
  GPIO_InitStruct.Pull = GPIO_NOPULL;
  GPIO_InitStruct.Speed = GPIO_SPEED_FREQ_LOW;
  GPIO_InitStruct.Alternate = GPIO_AF6_SPI3;
  HAL_GPIO_Init(GPIOC, &GPIO_InitStruct);

  /*Configure GPIO pin : OTG_FS_OverCurrent_Pin */
  GPIO_InitStruct.Pin = OTG_FS_OverCurrent_Pin;
  GPIO_InitStruct.Mode = GPIO_MODE_INPUT;
  GPIO_InitStruct.Pull = GPIO_NOPULL;
  HAL_GPIO_Init(OTG_FS_OverCurrent_GPIO_Port, &GPIO_InitStruct);

  /*Configure GPIO pin : MEMS_INT2_Pin */
  GPIO_InitStruct.Pin = MEMS_INT2_Pin;
  GPIO_InitStruct.Mode = GPIO_MODE_EVT_RISING;
  GPIO_InitStruct.Pull = GPIO_NOPULL;
  HAL_GPIO_Init(MEMS_INT2_GPIO_Port, &GPIO_InitStruct);

}

void _Error_Handler(char *file, int line)
{
  while(1)
  {
  }
}

/************************ (C) COPYRIGHT STMicroelectronics *****END OF FILE****/
